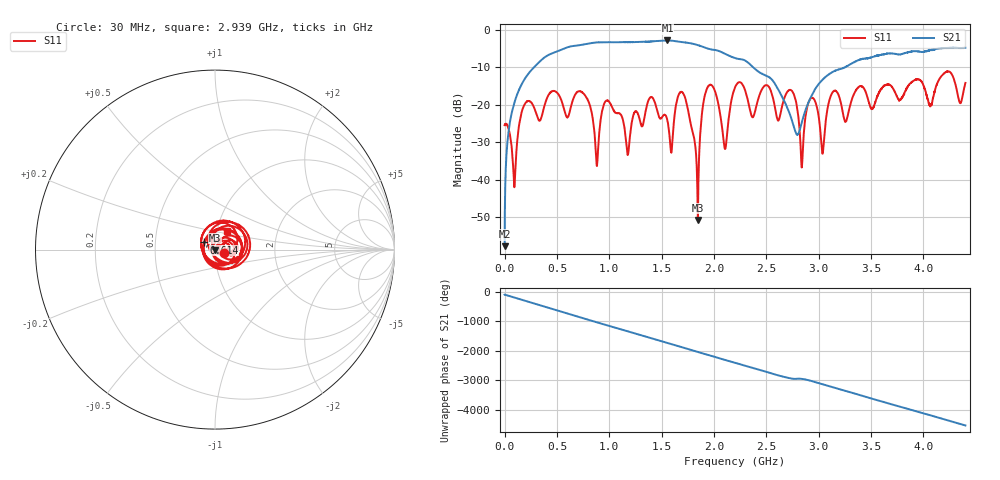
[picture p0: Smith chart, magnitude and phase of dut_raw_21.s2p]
!Created with skrf (http://scikit-rf.org).
# Hz S RI R 50.0
!freq ReS11 ImS11 ReS21 ImS21 ReS12 ImS12 ReS22 ImS22
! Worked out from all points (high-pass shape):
!   4400 points, 1 MHz to 4.4 GHz, reference 50 ohm
!   highest |S21| = -2.81 dB at 1.556 GHz (marker M1); lowest = -57.7 dB at 1 MHz (marker M2)
!   |S21| within 3 dB of the highest: 494.4 MHz to 2.063 GHz (1.569 GHz wide, 123 % of centre); 4.01 GHz to end of sweep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
!   lowest |S11| = -50.7 dB at 1.846 GHz (marker M3), VSWR 1.01, Z = 49.8 - j0.162 ohm
!   |S11| at or under -10 dB: start of sweep to end of sweep
!   S12 and S22 are empty: the file has one direction only
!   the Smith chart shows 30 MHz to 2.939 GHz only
!   S11 on the Smith chart (normalised r, x): 30 MHz: 1.10, -0.04; 614 MHz: 0.88, +0.07; 2.939 GHz: 1.12, +0.24
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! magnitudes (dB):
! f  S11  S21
! 1 MHz  -25.4  -57.7
! 30 MHz  -25.7  -29.3
! 93 MHz  -41.8  -19.5
! 208 MHz  -19.2  -12.4
! 614 MHz  -22.6  -4.5
! 735 MHz  -16.5  -4.0
! 881 MHz  -36.3  -3.3
! 972 MHz  -18.9  -3.3
! 1.468 GHz  -22.6  -2.9
! 1.556 GHz  -24.2  -2.8
! 1.706 GHz  -16.9  -3.3
! 1.846 GHz  -50.7  -4.1
! 1.935 GHz  -15.5  -4.9
! 2.105 GHz  -31.8  -6.4
! 2.201 GHz  -15.3  -7.5
! 2.74 GHz  -16.1  -23.8
! 2.838 GHz  -36.6  -24.7
! 2.934 GHz  -18.1  -17.4
! 2.939 GHz  -18.1  -17.1
! 3.036 GHz  -33.0  -13.2
! 3.667 GHz  -14.5  -6.3
! 4.4 GHz  -14.1  -4.7
